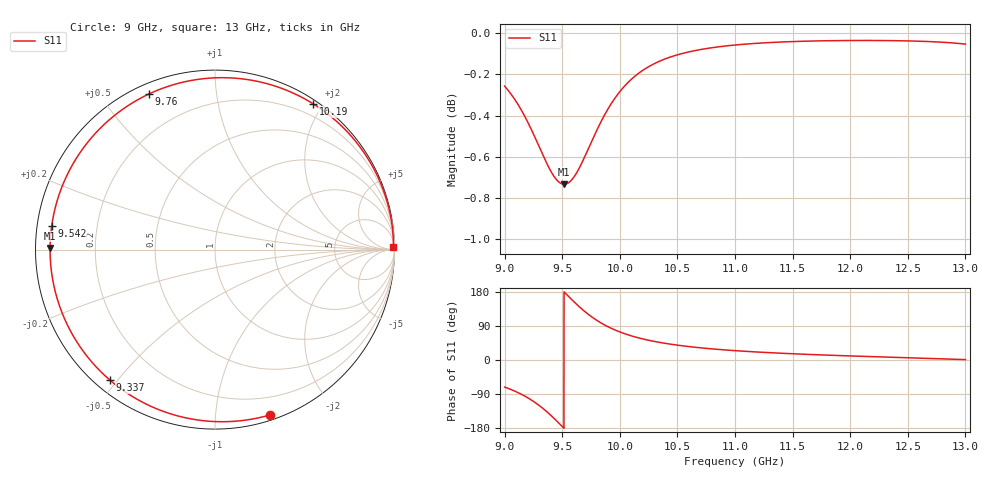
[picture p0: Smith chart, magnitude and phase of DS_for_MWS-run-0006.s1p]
! TOUCHSTONE file generated by CST DESIGN STUDIO
! Date and time: Tue Feb  4 14:31:32 2025
! Project name: C:\Work\MatlabApps\UnitCellOptimizationMatlab\CST\unitcell.cst
! Tree item: Tasks\Sweep1\SPara1\S-Parameters
! Header version: 2024
! Port assignment regex: !\s*Touchstone port\s*([0-9]+)\s*=\s*(CST MWS port|CST DES external port|CST DES block port)\s*(.+)\s* \(\"(.*)\"\)(\s*mode\s*([0-9]+))?.*
! Touchstone port assignment:
! Touchstone port 1 = CST DES external port 1 ("")
# GHz S MA R 50
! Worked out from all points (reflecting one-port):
!   4001 points, 9 GHz to 13 GHz, reference 50 ohm
!   lowest |S11| = -0.7 dB at 9.517 GHz (marker M1), VSWR 23.69, Z = 2.11 + j0.254 ohm
!   phase of S11 starts at -71 deg and turns -288 deg over the sweep
!   S11 on the Smith chart (normalised r, x): 9 GHz: 0.04, -1.39; 9.337 GHz: 0.04, -0.48; 9.542 GHz: 0.04, +0.07; 9.76 GHz: 0.04, +0.66; 10.19 GHz: 0.05, +1.88; 13 GHz: open
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9  0.9709 -71.5
9.092  0.9633 -82.6
9.197  0.952 -99.0
9.27  0.9426 -113.3
9.337  0.9335 -128.9
9.381  0.928 -140.4
9.427  0.9232 -153.4
9.464  0.9205 -164.4
9.5  0.9192 -175.4
9.517  0.919 179.4
9.542  0.9193 171.7
9.595  0.9222 155.7
9.656  0.9283 138.4
9.707  0.9348 125.3
9.76  0.9419 113.0
9.81  0.9484 102.8
9.864  0.9549 93.1
10  0.9679 74.1
10.092  0.9741 64.5
10.193  0.9792 56.1
10.334  0.9842 47.1
10.5  0.988 39.2
10.721  0.9912 31.5
11  0.9935 24.7
11.5  0.9954 16.5
12  0.996 10.7
12.5  0.9958 6.0
13  0.994 1.0
